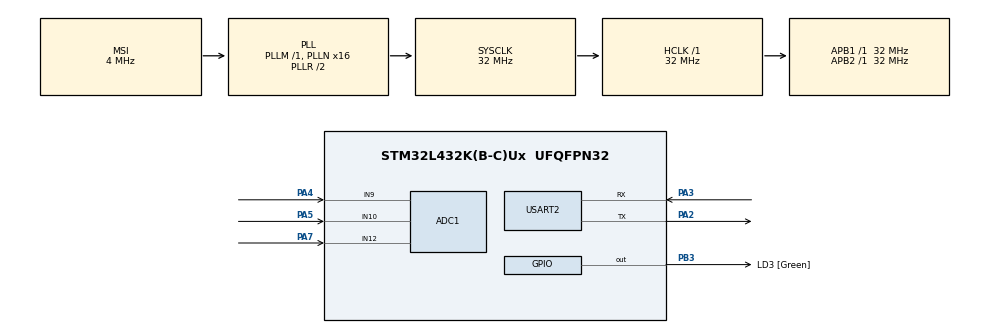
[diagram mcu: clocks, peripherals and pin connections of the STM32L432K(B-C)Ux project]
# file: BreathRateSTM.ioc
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ADC1.Channel-3\#ChannelRegularConversion=ADC_CHANNEL_9
ADC1.Channel-4\#ChannelRegularConversion=ADC_CHANNEL_10
ADC1.Channel-5\#ChannelRegularConversion=ADC_CHANNEL_12
ADC1.ContinuousConvMode=DISABLE
ADC1.DMAContinuousRequests=DISABLE
ADC1.NbrOfConversion=3
ADC1.NbrOfConversionFlag=1
ADC1.OffsetNumber-3\#ChannelRegularConversion=ADC_OFFSET_NONE
ADC1.OffsetNumber-4\#ChannelRegularConversion=ADC_OFFSET_NONE
ADC1.OffsetNumber-5\#ChannelRegularConversion=ADC_OFFSET_NONE
ADC1.Rank-3\#ChannelRegularConversion=1
ADC1.Rank-4\#ChannelRegularConversion=2
ADC1.Rank-5\#ChannelRegularConversion=3
ADC1.SamplingTime-3\#ChannelRegularConversion=ADC_SAMPLETIME_2CYCLES_5
ADC1.SamplingTime-4\#ChannelRegularConversion=ADC_SAMPLETIME_2CYCLES_5
ADC1.SamplingTime-5\#ChannelRegularConversion=ADC_SAMPLETIME_2CYCLES_5
ADC1.master=1
Dma.ADC1.0.Direction=DMA_PERIPH_TO_MEMORY
Dma.ADC1.0.Instance=DMA1_Channel1
Dma.ADC1.0.MemDataAlignment=DMA_MDATAALIGN_HALFWORD
Dma.ADC1.0.MemInc=DMA_MINC_ENABLE
Dma.ADC1.0.Mode=DMA_NORMAL
Dma.ADC1.0.PeriphDataAlignment=DMA_PDATAALIGN_HALFWORD
Dma.ADC1.0.PeriphInc=DMA_PINC_DISABLE
Dma.ADC1.0.Priority=DMA_PRIORITY_LOW
Dma.Request0=ADC1
Mcu.Family=STM32L4
Mcu.Name=STM32L432K(B-C)Ux
Mcu.Package=UFQFPN32
NVIC.DMA1_Channel1_IRQn=true\:0\:0\:false\:false\:true\:false\:true\:true
NVIC.PriorityGroup=NVIC_PRIORITYGROUP_4
PA2.Mode=Asynchronous
PA2.Signal=USART2_TX
PA3.Mode=Asynchronous
PA3.Signal=USART2_RX
PA4.Signal=ADCx_IN9
PA5.Signal=ADCx_IN10
PA7.Signal=ADCx_IN12
PB3\ (JTDO-TRACESWO).GPIO_Label=LD3 [Green]
PB3\ (JTDO-TRACESWO).Signal=GPIO_Output
PC14-OSC32_IN\ (PC14).Mode=LSE-External-Oscillator
PC14-OSC32_IN\ (PC14).Signal=RCC_OSC32_IN
PC15-OSC32_OUT\ (PC15).Mode=LSE-External-Oscillator
PC15-OSC32_OUT\ (PC15).Signal=RCC_OSC32_OUT
ProjectManager.HeapSize=0x200
ProjectManager.StackSize=0x400
ProjectManager.TargetToolchain=STM32CubeIDE
RCC.ADCFreq_Value=32000000
RCC.AHBFreq_Value=32000000
RCC.APB1Freq_Value=32000000
RCC.APB1TimFreq_Value=32000000
RCC.APB2Freq_Value=32000000
RCC.APB2TimFreq_Value=32000000
RCC.CortexFreq_Value=32000000
RCC.HCLKFreq_Value=32000000
RCC.HSE_VALUE=8000000
RCC.HSI16_VALUE=16000000
RCC.HSI48_VALUE=48000000
RCC.HSI_VALUE=16000000
RCC.MSI_VALUE=4000000
RCC.PLLMUL=RCC_PLLMUL_4
RCC.PLLN=16
RCC.PLLSAI1N=16
RCC.SYSCLKFreq_VALUE=32000000
RCC.SYSCLKSource=RCC_SYSCLKSOURCE_PLLCLK
RCC.USBFreq_Value=32000000
RCC.VCOOutputFreq_Value=64000000
SH.ADCx_IN10.0=ADC1_IN10,IN10-Single-Ended
SH.ADCx_IN12.0=ADC1_IN12,IN12-Single-Ended
SH.ADCx_IN9.0=ADC1_IN9,IN9-Single-Ended
USART2.VirtualMode-Asynchronous=VM_ASYNC
board=NUCLEO-L432KC

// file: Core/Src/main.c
/* USER CODE BEGIN Header */
/**
  ******************************************************************************
  * @file           : main.c
  * @brief          : Main program body
  ******************************************************************************
  * @attention
  *
  * Copyright (c) 2025 STMicroelectronics.
  * All rights reserved.
  *
  * This software is licensed under terms that can be found in the LICENSE file
  * in the root directory of this software component.
  * If no LICENSE file comes with this software, it is provided AS-IS.
  *
  ******************************************************************************
  */
/* USER CODE END Header */
#include "main.h"

/* USER CODE BEGIN Includes */
#include <string.h>
#include <stdio.h>
/* USER CODE END Includes */

ADC_HandleTypeDef hadc1;
DMA_HandleTypeDef hdma_adc1;

UART_HandleTypeDef huart2;

void SystemClock_Config(void);
static void MX_GPIO_Init(void);
static void MX_DMA_Init(void);
static void MX_ADC1_Init(void);
static void MX_USART2_UART_Init(void);

/* USER CODE BEGIN 0 */

	// Store outputs from the 3 ADC channels
	volatile uint16_t adcBuffer[3];
	volatile int adcConversionComplete = 0;

/* USER CODE END 0 */

int main(void)
{

  /* USER CODE BEGIN 1 */

  // Create character arrays to hold the display messages
  char message[100];

  /* USER CODE END 1 */

  /* MCU Configuration--------------------------------------------------------*/

  /* Reset of all peripherals, Initializes the Flash interface and the Systick. */
  HAL_Init();

  /* Configure the system clock */
  SystemClock_Config();

  /* Initialize all configured peripherals */
  MX_GPIO_Init();
  MX_DMA_Init();
  MX_ADC1_Init();
  MX_USART2_UART_Init();

  /* Infinite loop */
  while (1)
  {

    /* USER CODE BEGIN 3 */

	/* Obtain the ADC data and convert it */

	// Start the ADC and fill the buffer
	HAL_ADC_Start_DMA(&hadc1, (uint32_t*)adcBuffer, 3);
	// Do nothing if the conversion is not complete
	while(adcConversionComplete == 0)
	{
		// Hi, I'm nothing.
	}
	adcConversionComplete = 0;

	// Pin A3 (Rubber Cord)
//	float voltage_a2 = (adcBuffer[0] / 4095.0) * 3.3;
	// Pin A4 (Thermistor)
//	float voltage_a3 = (adcBuffer[1] / 4095.0) * 3.3;
	// Pin A5 (Sphygmomanometer)
//	float voltage_a4 = (adcBuffer[2] / 4095.0) * 3.3;
	// Timestamp
	uint32_t timestamp_ms = HAL_GetTick();

	/* Print the converted message */

	// Store the message with the raw ADC data for UART
//	sprintf(message, "%lu,%d,%.2f,%d,%.2f,%d,%.2f\r\n", timestamp_ms, adcBuffer[0], voltage_a2, adcBuffer[1], voltage_a3, adcBuffer[2], voltage_a4);
	sprintf(message, "%lu,%d,%d,%d\r\n", timestamp_ms, adcBuffer[0], adcBuffer[1], adcBuffer[2]);
//	sprintf(message, "%d,%d,%lu\r\n", adcBuffer[1], adcBuffer[0], timestamp_ms);
//	sprintf(message, "%d,%lu\r\n", adcBuffer[2], timestamp_ms);

	// Send the message to UART2 for printing via the serial connection
	HAL_UART_Transmit(&huart2, (uint8_t*)message, strlen(message), HAL_MAX_DELAY);

	// Introduce a delay for the next reading
	HAL_Delay(100);

  }
  /* USER CODE END 3 */
}

void SystemClock_Config(void)
{
  RCC_OscInitTypeDef RCC_OscInitStruct = {0};
  RCC_ClkInitTypeDef RCC_ClkInitStruct = {0};

  /** Configure the main internal regulator output voltage
  */
  if (HAL_PWREx_ControlVoltageScaling(PWR_REGULATOR_VOLTAGE_SCALE1) != HAL_OK)
  {
    Error_Handler();
  }

  /** Configure LSE Drive Capability
  */
  HAL_PWR_EnableBkUpAccess();
  __HAL_RCC_LSEDRIVE_CONFIG(RCC_LSEDRIVE_LOW);

  /** Initializes the RCC Oscillators according to the specified parameters
  * in the RCC_OscInitTypeDef structure.
  */
  RCC_OscInitStruct.OscillatorType = RCC_OSCILLATORTYPE_LSE|RCC_OSCILLATORTYPE_MSI;
  RCC_OscInitStruct.LSEState = RCC_LSE_ON;
  RCC_OscInitStruct.MSIState = RCC_MSI_ON;
  RCC_OscInitStruct.MSICalibrationValue = 0;
  RCC_OscInitStruct.MSIClockRange = RCC_MSIRANGE_6;
  RCC_OscInitStruct.PLL.PLLState = RCC_PLL_ON;
  RCC_OscInitStruct.PLL.PLLSource = RCC_PLLSOURCE_MSI;
  RCC_OscInitStruct.PLL.PLLM = 1;
  RCC_OscInitStruct.PLL.PLLN = 16;
  RCC_OscInitStruct.PLL.PLLP = RCC_PLLP_DIV7;
  RCC_OscInitStruct.PLL.PLLQ = RCC_PLLQ_DIV2;
  RCC_OscInitStruct.PLL.PLLR = RCC_PLLR_DIV2;
  if (HAL_RCC_OscConfig(&RCC_OscInitStruct) != HAL_OK)
  {
    Error_Handler();
  }

  /** Initializes the CPU, AHB and APB buses clocks
  */
  RCC_ClkInitStruct.ClockType = RCC_CLOCKTYPE_HCLK|RCC_CLOCKTYPE_SYSCLK
                              |RCC_CLOCKTYPE_PCLK1|RCC_CLOCKTYPE_PCLK2;
  RCC_ClkInitStruct.SYSCLKSource = RCC_SYSCLKSOURCE_PLLCLK;
  RCC_ClkInitStruct.AHBCLKDivider = RCC_SYSCLK_DIV1;
  RCC_ClkInitStruct.APB1CLKDivider = RCC_HCLK_DIV1;
  RCC_ClkInitStruct.APB2CLKDivider = RCC_HCLK_DIV1;

  if (HAL_RCC_ClockConfig(&RCC_ClkInitStruct, FLASH_LATENCY_1) != HAL_OK)
  {
    Error_Handler();
  }

  /** Enable MSI Auto calibration
  */
  HAL_RCCEx_EnableMSIPLLMode();
}

static void MX_ADC1_Init(void)
{

  ADC_ChannelConfTypeDef sConfig = {0};

  /** Common config
  */
  hadc1.Instance = ADC1;
  hadc1.Init.ClockPrescaler = ADC_CLOCK_ASYNC_DIV1;
  hadc1.Init.Resolution = ADC_RESOLUTION_12B;
  hadc1.Init.DataAlign = ADC_DATAALIGN_RIGHT;
  hadc1.Init.ScanConvMode = ADC_SCAN_ENABLE;
  hadc1.Init.EOCSelection = ADC_EOC_SINGLE_CONV;
  hadc1.Init.LowPowerAutoWait = DISABLE;
  hadc1.Init.ContinuousConvMode = DISABLE;
  hadc1.Init.NbrOfConversion = 3;
  hadc1.Init.DiscontinuousConvMode = DISABLE;
  hadc1.Init.ExternalTrigConv = ADC_SOFTWARE_START;
  hadc1.Init.ExternalTrigConvEdge = ADC_EXTERNALTRIGCONVEDGE_NONE;
  hadc1.Init.DMAContinuousRequests = DISABLE;
  hadc1.Init.Overrun = ADC_OVR_DATA_PRESERVED;
  hadc1.Init.OversamplingMode = DISABLE;
  if (HAL_ADC_Init(&hadc1) != HAL_OK)
  {
    Error_Handler();
  }

  /** Configure Regular Channel
  */
  sConfig.Channel = ADC_CHANNEL_9;
  sConfig.Rank = ADC_REGULAR_RANK_1;
  sConfig.SamplingTime = ADC_SAMPLETIME_2CYCLES_5;
  sConfig.SingleDiff = ADC_SINGLE_ENDED;
  sConfig.OffsetNumber = ADC_OFFSET_NONE;
  sConfig.Offset = 0;
  if (HAL_ADC_ConfigChannel(&hadc1, &sConfig) != HAL_OK)
  {
    Error_Handler();
  }

  /** Configure Regular Channel
  */
  sConfig.Channel = ADC_CHANNEL_10;
  sConfig.Rank = ADC_REGULAR_RANK_2;
  if (HAL_ADC_ConfigChannel(&hadc1, &sConfig) != HAL_OK)
  {
    Error_Handler();
  }

  /** Configure Regular Channel
  */
  sConfig.Channel = ADC_CHANNEL_12;
  sConfig.Rank = ADC_REGULAR_RANK_3;
  if (HAL_ADC_ConfigChannel(&hadc1, &sConfig) != HAL_OK)
  {
    Error_Handler();
  }

}

static void MX_USART2_UART_Init(void)
{

  huart2.Instance = USART2;
  huart2.Init.BaudRate = 115200;
  huart2.Init.WordLength = UART_WORDLENGTH_8B;
  huart2.Init.StopBits = UART_STOPBITS_1;
  huart2.Init.Parity = UART_PARITY_NONE;
  huart2.Init.Mode = UART_MODE_TX_RX;
  huart2.Init.HwFlowCtl = UART_HWCONTROL_NONE;
  huart2.Init.OverSampling = UART_OVERSAMPLING_16;
  huart2.Init.OneBitSampling = UART_ONE_BIT_SAMPLE_DISABLE;
  huart2.AdvancedInit.AdvFeatureInit = UART_ADVFEATURE_NO_INIT;
  if (HAL_UART_Init(&huart2) != HAL_OK)
  {
    Error_Handler();
  }

}

static void MX_DMA_Init(void)
{

  /* DMA controller clock enable */
  __HAL_RCC_DMA1_CLK_ENABLE();

  /* DMA interrupt init */
  /* DMA1_Channel1_IRQn interrupt configuration */
  HAL_NVIC_SetPriority(DMA1_Channel1_IRQn, 0, 0);
  HAL_NVIC_EnableIRQ(DMA1_Channel1_IRQn);

}

static void MX_GPIO_Init(void)
{
  GPIO_InitTypeDef GPIO_InitStruct = {0};

  /* GPIO Ports Clock Enable */
  __HAL_RCC_GPIOC_CLK_ENABLE();
  __HAL_RCC_GPIOA_CLK_ENABLE();
  __HAL_RCC_GPIOB_CLK_ENABLE();

  /*Configure GPIO pin Output Level */
  HAL_GPIO_WritePin(LD3_GPIO_Port, LD3_Pin, GPIO_PIN_RESET);

  /*Configure GPIO pin : LD3_Pin */
  GPIO_InitStruct.Pin = LD3_Pin;
  GPIO_InitStruct.Mode = GPIO_MODE_OUTPUT_PP;
  GPIO_InitStruct.Pull = GPIO_NOPULL;
  GPIO_InitStruct.Speed = GPIO_SPEED_FREQ_LOW;
  HAL_GPIO_Init(LD3_GPIO_Port, &GPIO_InitStruct);

}

/* USER CODE BEGIN 4 */

void HAL_ADC_ConvCpltCallback(ADC_HandleTypeDef *hadc)
{
	if (hadc->Instance == ADC1)
	{
		adcConversionComplete = 1;
	}
}

/* USER CODE END 4 */

void Error_Handler(void)
{
  __disable_irq();
  while (1)
  {
  }
}
